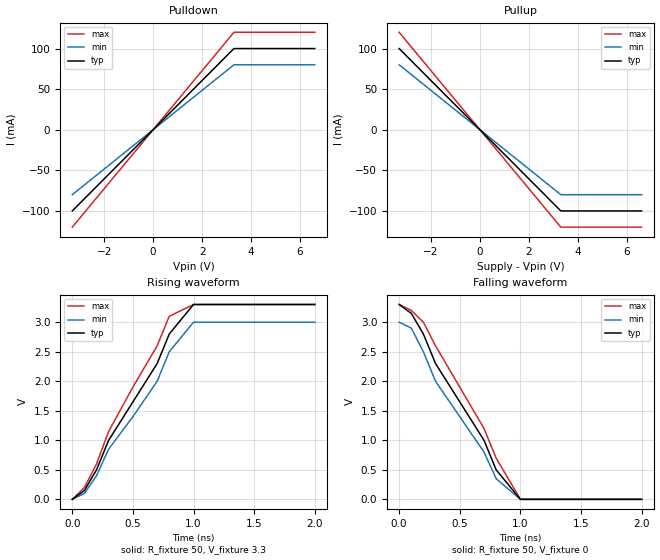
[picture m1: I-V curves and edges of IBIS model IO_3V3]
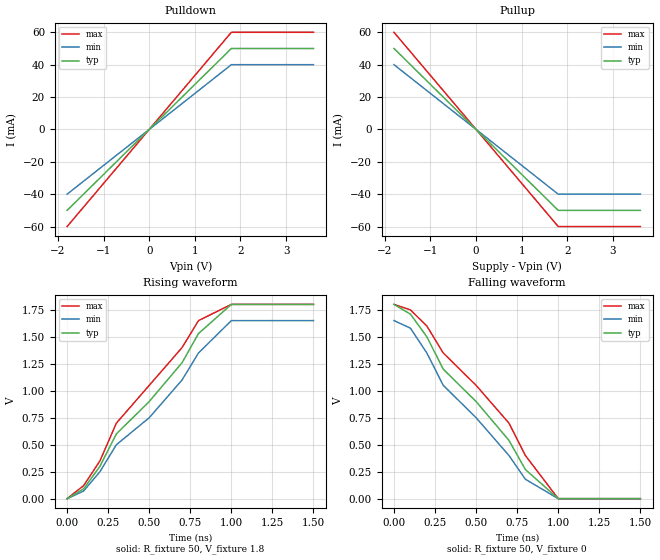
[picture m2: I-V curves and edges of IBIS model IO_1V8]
[IBIS Ver]   5.0
[Comment Char]  |
[File Name]   sample_io.ibs
[File Rev]   1.0
[Date]   March 12, 2026
[Component]   SAMPLE_IC_3V3
[Manufacturer]  TestSemiconductor Inc.
[Package]
| variable   typ   min   max
R_pkg   0.10   0.05   0.15
L_pkg   1.0nH   0.5nH   1.5nH
C_pkg   0.5pF   0.2pF   0.8pF
[Pin]  signal_name  model_name  R_pin  L_pin  C_pin
1   VCC   POWER   0   0   0
2   GND   GND   0   0   0
3   DATA0   IO_3V3   0.1   1nH   0.5pF
4   DATA1   IO_3V3   0.1   1nH   0.5pF
5   CLK_OUT   IO_1V8   0.05   0.8nH  0.3pF
6   RESET_N   IO_1V8   0.05   0.8nH  0.3pF
| Models and submodels in the file (2): IO_3V3 (I/O), IO_1V8 (Output)
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[Model]   IO_3V3
Model_type   I/O
Vinl = 0.8V
Vinh = 2.0V
Vmeas = 1.5V
C_comp   3.0pF   2.0pF   4.0pF
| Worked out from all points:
|   slope of the pulldown table from 0 to 0.3 V, typ, clamps not added: 33 ohm
|   slope of the pullup table from 0 to 0.3 V, typ, clamps not added: 33 ohm
|   rising waveform, R_fixture 50, V_fixture 3.3: 20-80 % time 536ps typ, 536ps min, 497ps max; typ from 0 V to 3.3 V
|   falling waveform, R_fixture 50, V_fixture 0: 20-80 % time 536ps typ, 524ps min, 521ps max; typ from 3.3 V to 0 V
[Pullup]
| Voltage   I(typ)   I(min)   I(max)
-3.3V     100mA      80mA       120mA
-1.65V    50mA       40mA       60mA
0V        0A         0A         0A
1.65V     -50mA      -40mA      -60mA
3.3V      -100mA     -80mA      -120mA
6.6V      -100mA     -80mA      -120mA
[Pulldown]
| Voltage   I(typ)   I(min)   I(max)
-3.3V     -100mA     -80mA      -120mA
-1.65V    -50mA      -40mA      -60mA
0V        0A         0A         0A
1.65V     50mA       40mA       60mA
3.3V      100mA      80mA       120mA
6.6V      100mA      80mA       120mA
[Rising Waveform]
R_fixture = 50
V_fixture = 3.3
| Time   V(typ)   V(min)   V(max)
0s        0V         0V         0V
100ps     150mV      100mV      200mV
200ps     500mV      400mV      600mV
300ps     1V         850mV      1.15V
500ps     1.65V      1.4V       1.9V
700ps     2.3V       2V         2.6V
800ps     2.8V       2.5V       3.1V
1ns       3.3V       3V         3.3V
2ns       3.3V       3V         3.3V
[Falling Waveform]
R_fixture = 50
V_fixture = 0
| Time   V(typ)   V(min)   V(max)
0s        3.3V       3V         3.3V
100ps     3.15V      2.9V       3.2V
200ps     2.8V       2.5V       3V
300ps     2.3V       2V         2.6V
500ps     1.65V      1.4V       1.9V
700ps     1V         800mV      1.2V
800ps     500mV      350mV      700mV
1ns       0V         0V         0V
2ns       0V         0V         0V
[Model]   IO_1V8
Model_type   Output
Vinl = 0.5V
Vinh = 1.17V
Vmeas = 0.9V
C_comp   2.0pF   1.5pF   2.5pF
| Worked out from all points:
|   slope of the pulldown table from 0 to 0.3 V, typ, clamps not added: 36 ohm
|   slope of the pullup table from 0 to 0.3 V, typ, clamps not added: 36 ohm
|   rising waveform, R_fixture 50, V_fixture 1.8: 20-80 % time 547ps typ, 556ps min, 513ps max; typ from 0 V to 1.8 V
|   falling waveform, R_fixture 50, V_fixture 0: 20-80 % time 547ps typ, 522ps min, 556ps max; typ from 1.8 V to 0 V
[Pullup]
| Voltage   I(typ)   I(min)   I(max)
-1.8V     50mA       40mA       60mA
-900mV    25mA       20mA       30mA
0V        0A         0A         0A
900mV     -25mA      -20mA      -30mA
1.8V      -50mA      -40mA      -60mA
3.6V      -50mA      -40mA      -60mA
[Pulldown]
| Voltage   I(typ)   I(min)   I(max)
-1.8V     -50mA      -40mA      -60mA
-900mV    -25mA      -20mA      -30mA
0V        0A         0A         0A
900mV     25mA       20mA       30mA
1.8V      50mA       40mA       60mA
3.6V      50mA       40mA       60mA
[Rising Waveform]
R_fixture = 50
V_fixture = 1.8
| Time   V(typ)   V(min)   V(max)
0s        0V         0V         0V
100ps     90mV       70mV       120mV
200ps     300mV      250mV      350mV
300ps     600mV      500mV      700mV
500ps     900mV      750mV      1.05V
700ps     1.26V      1.1V       1.4V
800ps     1.53V      1.35V      1.65V
1ns       1.8V       1.65V      1.8V
1.5ns     1.8V       1.65V      1.8V
[Falling Waveform]
R_fixture = 50
V_fixture = 0
| Time   V(typ)   V(min)   V(max)
0s        1.8V       1.65V      1.8V
100ps     1.71V      1.58V      1.75V
200ps     1.5V       1.35V      1.6V
300ps     1.2V       1.05V      1.35V
500ps     900mV      750mV      1.05V
700ps     540mV      400mV      700mV
800ps     270mV      180mV      400mV
1ns       0V         0V         0V
1.5ns     0V         0V         0V
